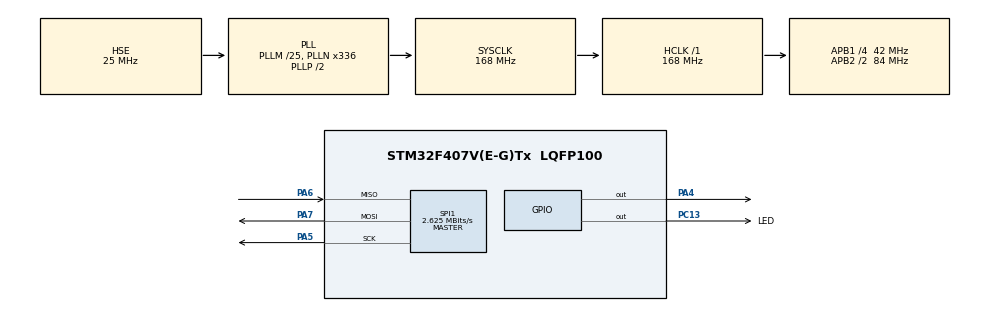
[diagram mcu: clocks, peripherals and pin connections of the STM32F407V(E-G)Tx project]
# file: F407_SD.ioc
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FATFS._MAX_SS=4096
FATFS._USE_LFN=1
Mcu.Family=STM32F4
Mcu.Name=STM32F407V(E-G)Tx
Mcu.Package=LQFP100
NVIC.PriorityGroup=NVIC_PRIORITYGROUP_4
PA13.Mode=Serial_Wire
PA13.Signal=SYS_JTMS-SWDIO
PA14.Mode=Serial_Wire
PA14.Signal=SYS_JTCK-SWCLK
PA4.GPIO_Speed=GPIO_SPEED_FREQ_MEDIUM
PA4.PinState=GPIO_PIN_RESET
PA4.Signal=GPIO_Output
PA5.Mode=Full_Duplex_Master
PA5.Signal=SPI1_SCK
PA6.GPIO_PuPd=GPIO_NOPULL
PA6.Mode=Full_Duplex_Master
PA6.Signal=SPI1_MISO
PA7.Mode=Full_Duplex_Master
PA7.Signal=SPI1_MOSI
PC13-ANTI_TAMP.GPIO_Label=LED
PC13-ANTI_TAMP.Signal=GPIO_Output
PH0-OSC_IN.Mode=HSE-External-Oscillator
PH0-OSC_IN.Signal=RCC_OSC_IN
PH1-OSC_OUT.Mode=HSE-External-Oscillator
PH1-OSC_OUT.Signal=RCC_OSC_OUT
ProjectManager.HeapSize=0x200
ProjectManager.StackSize=0x400
ProjectManager.TargetToolchain=STM32CubeIDE
RCC.48MHZClocksFreq_Value=84000000
RCC.AHBFreq_Value=168000000
RCC.APB1CLKDivider=RCC_HCLK_DIV4
RCC.APB1Freq_Value=42000000
RCC.APB1TimFreq_Value=84000000
RCC.APB2CLKDivider=RCC_HCLK_DIV2
RCC.APB2Freq_Value=84000000
RCC.APB2TimFreq_Value=168000000
RCC.CortexFreq_Value=168000000
RCC.HCLKFreq_Value=168000000
RCC.HSE_VALUE=25000000
RCC.HSI_VALUE=16000000
RCC.LSE_VALUE=32768
RCC.PLLM=25
RCC.PLLN=336
RCC.PLLSourceVirtual=RCC_PLLSOURCE_HSE
RCC.SYSCLKFreq_VALUE=168000000
RCC.SYSCLKSource=RCC_SYSCLKSOURCE_PLLCLK
RCC.VCOOutputFreq_Value=336000000
SPI1.BaudRatePrescaler=SPI_BAUDRATEPRESCALER_32
SPI1.CalculateBaudRate=2.625 MBits/s
SPI1.Direction=SPI_DIRECTION_2LINES
SPI1.Mode=SPI_MODE_MASTER
SPI1.VirtualType=VM_MASTER
VP_FATFS_VS_Generic.Mode=User_defined
VP_TIM1_VS_ClockSourceINT.Mode=Internal
VP_TIM2_VS_ClockSourceINT.Mode=Internal
board=custom

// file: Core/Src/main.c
/* USER CODE BEGIN Header */
/**
  ******************************************************************************
  * @file           : main.c
  * @brief          : Main program body
  ******************************************************************************
  * @attention
  *
  * Copyright (c) 2024 STMicroelectronics.
  * All rights reserved.
  *
  * This software is licensed under terms that can be found in the LICENSE file
  * in the root directory of this software component.
  * If no LICENSE file comes with this software, it is provided AS-IS.
  *
  ******************************************************************************
  */
/* USER CODE END Header */
#include "main.h"
#include "fatfs.h"

/* USER CODE BEGIN Includes */
#include "fatfs_sd.h"
#include "string.h"
#include "stdio.h"

/* USER CODE END Includes */

SPI_HandleTypeDef hspi1;

TIM_HandleTypeDef htim1;
TIM_HandleTypeDef htim2;

/* USER CODE BEGIN PV */
char fileName[20];
FRESULT res;
FATFS fs;  // file system
FIL fil; // File
FILINFO fno;
FRESULT fresult;  // result
UINT br, bw;  // File read/write count

/**** capacity related *****/
FATFS *pfs;
DWORD fre_clust;
uint32_t total;
uint32_t free_space;
char buffer[128];

/* USER CODE END PV */

void SystemClock_Config(void);
static void MX_GPIO_Init(void);
static void MX_SPI1_Init(void);
static void MX_TIM1_Init(void);
static void MX_TIM2_Init(void);
/* USER CODE BEGIN PFP */
void create_new_file();
/* USER CODE END PFP */

int main(void)
{

  /* MCU Configuration--------------------------------------------------------*/

  /* Reset of all peripherals, Initializes the Flash interface and the Systick. */
  HAL_Init();

  /* Configure the system clock */
  SystemClock_Config();

  /* Initialize all configured peripherals */
  MX_GPIO_Init();
  MX_SPI1_Init();
  MX_FATFS_Init();
  MX_TIM1_Init();
  MX_TIM2_Init();
  /* USER CODE BEGIN 2 */
  f_mount(&fs, "", 0);
  create_new_file();

  /* USER CODE END 2 */

  /* Infinite loop */
  while (1)
  {

    /* USER CODE BEGIN 3 */
	  uint32_t a = HAL_GetTick();;
	 	  int b = 21;
	 	  double c = 25.896578;
	 	  double d = 82.56835964;
	 	  int e = 97;

	      HAL_Delay(50);

	 	 fresult = f_mount(&fs, "", 0);
	 	 fresult = f_open(&fil, fileName, FA_OPEN_ALWAYS | FA_WRITE | FA_READ);
	 	 fresult =  f_lseek(&fil,f_size(&fil));
	 	 //"zaman_ms; hiz_km/h; sicaklik_C; toplamVoltaj_V; kalanEnerji_%\n"
	 	 snprintf(buffer, sizeof(buffer), "%-8lu; %-8d; %-10.2f; %-14.2f; %-13d\n",a,b,c,d,e);

	      fresult = f_puts(buffer,&fil);
	      fresult = f_close(&fil);
  }
  /* USER CODE END 3 */
}

void SystemClock_Config(void)
{
  RCC_OscInitTypeDef RCC_OscInitStruct = {0};
  RCC_ClkInitTypeDef RCC_ClkInitStruct = {0};

  /** Configure the main internal regulator output voltage
  */
  __HAL_RCC_PWR_CLK_ENABLE();
  __HAL_PWR_VOLTAGESCALING_CONFIG(PWR_REGULATOR_VOLTAGE_SCALE1);

  /** Initializes the RCC Oscillators according to the specified parameters
  * in the RCC_OscInitTypeDef structure.
  */
  RCC_OscInitStruct.OscillatorType = RCC_OSCILLATORTYPE_HSE;
  RCC_OscInitStruct.HSEState = RCC_HSE_ON;
  RCC_OscInitStruct.PLL.PLLState = RCC_PLL_ON;
  RCC_OscInitStruct.PLL.PLLSource = RCC_PLLSOURCE_HSE;
  RCC_OscInitStruct.PLL.PLLM = 25;
  RCC_OscInitStruct.PLL.PLLN = 336;
  RCC_OscInitStruct.PLL.PLLP = RCC_PLLP_DIV2;
  RCC_OscInitStruct.PLL.PLLQ = 4;
  if (HAL_RCC_OscConfig(&RCC_OscInitStruct) != HAL_OK)
  {
    Error_Handler();
  }

  /** Initializes the CPU, AHB and APB buses clocks
  */
  RCC_ClkInitStruct.ClockType = RCC_CLOCKTYPE_HCLK|RCC_CLOCKTYPE_SYSCLK
                              |RCC_CLOCKTYPE_PCLK1|RCC_CLOCKTYPE_PCLK2;
  RCC_ClkInitStruct.SYSCLKSource = RCC_SYSCLKSOURCE_PLLCLK;
  RCC_ClkInitStruct.AHBCLKDivider = RCC_SYSCLK_DIV1;
  RCC_ClkInitStruct.APB1CLKDivider = RCC_HCLK_DIV4;
  RCC_ClkInitStruct.APB2CLKDivider = RCC_HCLK_DIV2;

  if (HAL_RCC_ClockConfig(&RCC_ClkInitStruct, FLASH_LATENCY_5) != HAL_OK)
  {
    Error_Handler();
  }
}

static void MX_SPI1_Init(void)
{

  /* SPI1 parameter configuration*/
  hspi1.Instance = SPI1;
  hspi1.Init.Mode = SPI_MODE_MASTER;
  hspi1.Init.Direction = SPI_DIRECTION_2LINES;
  hspi1.Init.DataSize = SPI_DATASIZE_8BIT;
  hspi1.Init.CLKPolarity = SPI_POLARITY_LOW;
  hspi1.Init.CLKPhase = SPI_PHASE_1EDGE;
  hspi1.Init.NSS = SPI_NSS_SOFT;
  hspi1.Init.BaudRatePrescaler = SPI_BAUDRATEPRESCALER_32;
  hspi1.Init.FirstBit = SPI_FIRSTBIT_MSB;
  hspi1.Init.TIMode = SPI_TIMODE_DISABLE;
  hspi1.Init.CRCCalculation = SPI_CRCCALCULATION_DISABLE;
  hspi1.Init.CRCPolynomial = 10;
  if (HAL_SPI_Init(&hspi1) != HAL_OK)
  {
    Error_Handler();
  }

}

static void MX_TIM1_Init(void)
{

  TIM_ClockConfigTypeDef sClockSourceConfig = {0};
  TIM_MasterConfigTypeDef sMasterConfig = {0};

  htim1.Instance = TIM1;
  htim1.Init.Prescaler = 0;
  htim1.Init.CounterMode = TIM_COUNTERMODE_UP;
  htim1.Init.Period = 65535;
  htim1.Init.ClockDivision = TIM_CLOCKDIVISION_DIV1;
  htim1.Init.RepetitionCounter = 0;
  htim1.Init.AutoReloadPreload = TIM_AUTORELOAD_PRELOAD_DISABLE;
  if (HAL_TIM_Base_Init(&htim1) != HAL_OK)
  {
    Error_Handler();
  }
  sClockSourceConfig.ClockSource = TIM_CLOCKSOURCE_INTERNAL;
  if (HAL_TIM_ConfigClockSource(&htim1, &sClockSourceConfig) != HAL_OK)
  {
    Error_Handler();
  }
  sMasterConfig.MasterOutputTrigger = TIM_TRGO_RESET;
  sMasterConfig.MasterSlaveMode = TIM_MASTERSLAVEMODE_DISABLE;
  if (HAL_TIMEx_MasterConfigSynchronization(&htim1, &sMasterConfig) != HAL_OK)
  {
    Error_Handler();
  }

}

static void MX_TIM2_Init(void)
{

  TIM_ClockConfigTypeDef sClockSourceConfig = {0};
  TIM_MasterConfigTypeDef sMasterConfig = {0};

  htim2.Instance = TIM2;
  htim2.Init.Prescaler = 0;
  htim2.Init.CounterMode = TIM_COUNTERMODE_UP;
  htim2.Init.Period = 4294967295;
  htim2.Init.ClockDivision = TIM_CLOCKDIVISION_DIV1;
  htim2.Init.AutoReloadPreload = TIM_AUTORELOAD_PRELOAD_DISABLE;
  if (HAL_TIM_Base_Init(&htim2) != HAL_OK)
  {
    Error_Handler();
  }
  sClockSourceConfig.ClockSource = TIM_CLOCKSOURCE_INTERNAL;
  if (HAL_TIM_ConfigClockSource(&htim2, &sClockSourceConfig) != HAL_OK)
  {
    Error_Handler();
  }
  sMasterConfig.MasterOutputTrigger = TIM_TRGO_RESET;
  sMasterConfig.MasterSlaveMode = TIM_MASTERSLAVEMODE_DISABLE;
  if (HAL_TIMEx_MasterConfigSynchronization(&htim2, &sMasterConfig) != HAL_OK)
  {
    Error_Handler();
  }

}

static void MX_GPIO_Init(void)
{
  GPIO_InitTypeDef GPIO_InitStruct = {0};

  /* GPIO Ports Clock Enable */
  __HAL_RCC_GPIOC_CLK_ENABLE();
  __HAL_RCC_GPIOH_CLK_ENABLE();
  __HAL_RCC_GPIOA_CLK_ENABLE();

  /*Configure GPIO pin Output Level */
  HAL_GPIO_WritePin(LED_GPIO_Port, LED_Pin, GPIO_PIN_RESET);

  /*Configure GPIO pin Output Level */
  HAL_GPIO_WritePin(GPIOA, GPIO_PIN_4, GPIO_PIN_RESET);

  /*Configure GPIO pin : LED_Pin */
  GPIO_InitStruct.Pin = LED_Pin;
  GPIO_InitStruct.Mode = GPIO_MODE_OUTPUT_PP;
  GPIO_InitStruct.Pull = GPIO_NOPULL;
  GPIO_InitStruct.Speed = GPIO_SPEED_FREQ_LOW;
  HAL_GPIO_Init(LED_GPIO_Port, &GPIO_InitStruct);

  /*Configure GPIO pin : PA4 */
  GPIO_InitStruct.Pin = GPIO_PIN_4;
  GPIO_InitStruct.Mode = GPIO_MODE_OUTPUT_PP;
  GPIO_InitStruct.Pull = GPIO_NOPULL;
  GPIO_InitStruct.Speed = GPIO_SPEED_FREQ_MEDIUM;
  HAL_GPIO_Init(GPIOA, &GPIO_InitStruct);

}

/* USER CODE BEGIN 4 */
void create_new_file() {
    FRESULT res;
    int s = 0;
    FILINFO fno;
    int is_file_exist = 1;

    f_mount(&fs, "", 0);

    while (is_file_exist) {
        s++;
        if (snprintf(fileName, sizeof(fileName), "values%d.txt", s) >= sizeof(fileName)) {
            // Dosya adı çok uzun, hata işle
            return; // Hata durumunda fonksiyondan çık
        }

        // Dosyanın var olup olmadığını kontrol et
        res = f_stat(fileName, &fno);
        if (res == FR_OK) {
            is_file_exist = 1; // Dosya mevcut
        } else if (res == FR_NO_FILE) {
            is_file_exist = 0; // Dosya mevcut değil
        } else {
            // Diğer hata durumları
            // Hata işleme kodları buraya eklenebilir
            return; // Hata durumunda fonksiyondan çık
        }
    }

    if (!is_file_exist) {
        // Yeni dosya oluşturma işlemi burada yapılabilir
        res = f_open(&fil, fileName, FA_CREATE_NEW | FA_WRITE);
        if (res == FR_OK) {
            // Dosya başarılı bir şekilde oluşturuldu ve açıldı
            const char* header = "zaman_ms; hiz_km/h; sicaklik_C; toplamVoltaj_V; kalanEnerji_%\n";
            if (f_puts(header, &fil) < 0) {
                // Başlık yazma başarısız, hata işle
                f_close(&fil);
                return; // Hata durumunda fonksiyondan çık
            }
            // Dosyayı kapatma
            f_close(&fil);
        } else {
            // Dosya oluşturma/açma başarısız oldu
            // Hata işleme kodları buraya eklenebilir
        }
    }
}

/* USER CODE END 4 */

void Error_Handler(void)
{
  __disable_irq();
  while (1)
  {
  }
}
